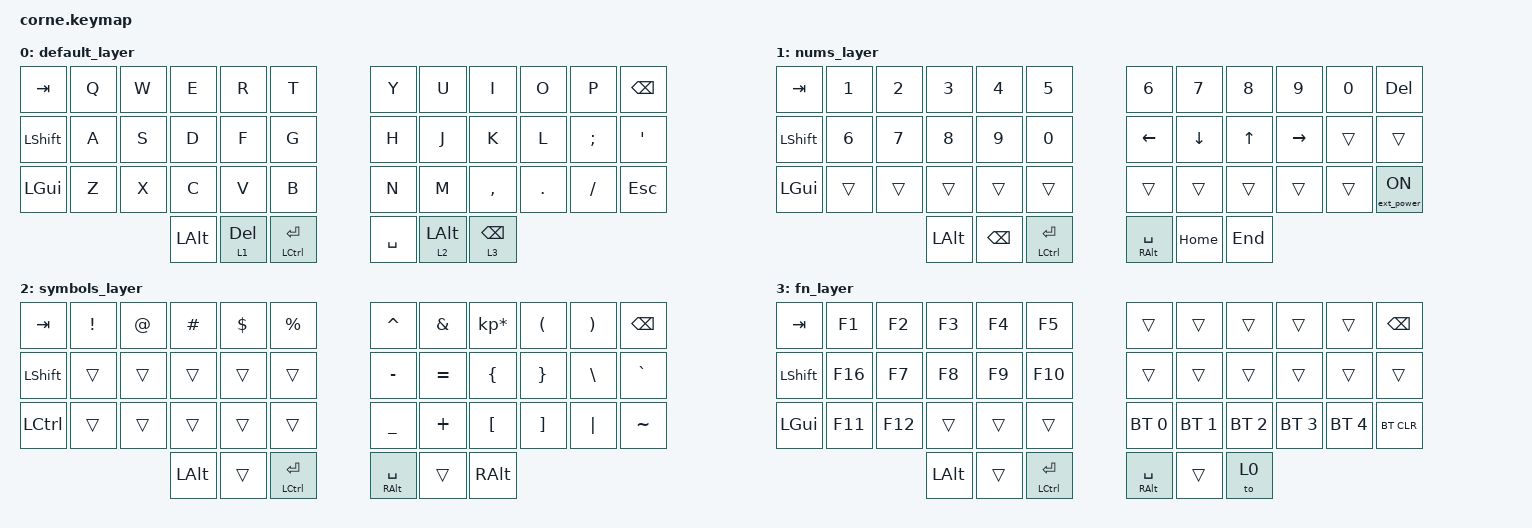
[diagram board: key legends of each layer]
/*
 * Copyright (c) 2020 The ZMK Contributors
 *
 * SPDX-License-Identifier: MIT
 */

#include <behaviors.dtsi>
#include <dt-bindings/zmk/keys.h>
#include <dt-bindings/zmk/bt.h>
#include <dt-bindings/zmk/outputs.h>
#include <dt-bindings/zmk/ext_power.h>

/ {
        keymap {
                compatible = "zmk,keymap";

                default_layer {
                        // --------------------------------------------------------------------------------------------------
                        // | TAB   |  Q  |  W  |  E   |  R  |  T  |                 |  Y  |  U   |  I   |  O  |  P  | BSPC |
                        // | SHFT  |  A  |  S  |  D   |  F  |  G  |                 |  H  |  J   |  K   |  L  |  ;  |  '   |
                        // | LGUI  |  Z  |  X  |  C   |  V  |  B  |                 |  N  |  M   |  ,   |  .  |  /  | ESC  |
                        //                     | GUI  | LWR | ENT |                 | SPC | RSE  | Fn-L |
                        bindings = <
                        &kp TAB              &kp Q       &kp W       &kp E              &kp R       &kp T        &kp Y     &kp U  &kp I     &kp O   &kp P    &kp BSPC
                        &kp LSHIFT &kp A       &kp S       &kp D              &kp F       &kp G        &kp H     &kp J  &kp K     &kp L   &kp SEMI &kp SQT
                        &kp LGUI             &kp Z       &kp X       &kp C              &kp V       &kp B        &kp N     &kp M  &kp COMMA &kp DOT &kp FSLH &kp ESC
                                             &kp LALT    &lt 1 DEL  &mt LCTRL RET       &kp SPACE   &lt 2 LALT   &lt 3 BSPC
                        >;
                };

                nums_layer {
                        // -----------------------------------------------------------------------------------------
                        // |  TAB |   1   |  2  |  3   |  4  |  5  |     |  6  |  7   |  8  |  9  |  0  | DEL   |
                        // | SHFT |  6    |  7  |  8   |  9  |  0  |     | LFT | DWN  |  UP | RGT |     |       |
                        // | GUI  |       |     |      |     |     |     |     |      |     |     |     | EP_ON |
                        //                      | LALT |     | ENT |     | SPC | HOME | END |
                        bindings = < 
                        &kp TAB     &kp N1       &kp N2       &kp N3       &kp N4       &kp N5            &kp N6          &kp N7     &kp N8   &kp N9    &kp N0 &kp DEL
                        &kp LSHFT   &kp N6       &kp N7       &kp N8       &kp N9       &kp N0            &kp LEFT        &kp DOWN   &kp UP   &kp RIGHT &trans &trans
                        &kp LGUI   &trans        &trans       &trans       &trans       &trans            &trans          &trans     &trans   &trans    &trans &ext_power EP_ON
                                                              &kp LALT     &kp BSPC     &mt LCTRL RET     &mt RALT SPACE  &kp HOME   &kp END
                        >;
                };
 
                symbols_layer {
                        // -----------------------------------------------------------------------------------------
                        // |  TAB |  !  |  @  |  #   |  $  |  %  |   |  ^  |  &  |  *  |  (  |  )  | BSPC |
                        // | CTRL |     |     |      |     |     |   |  -  |  =  |  [  |  ]  |  \  |  `   |
                        // | LGUI |     |     |      |     |     |   |  _  |  +  |  {  |  }  | "|" |  ~   |
                        //                    | LALT |     | SPC |   | ENT |     | ALT |
                        bindings = <
                        &kp  TAB  &kp EXCL &kp AT &kp HASH  &kp DLLR &kp PRCNT          &kp CARET &kp AMPS  &kp KP_MULTIPLY &kp LPAR &kp RPAR &kp BSPC
                        &kp LSHFT &trans   &trans &trans    &trans   &trans             &kp MINUS &kp EQUAL &kp LBRC        &kp RBRC &kp BSLH &kp GRAVE
                        &kp LCTRL &trans   &trans &trans    &trans   &trans             &kp UNDER &kp PLUS  &kp LBKT        &kp RBKT &kp PIPE &kp TILDE
                                                  &kp LALT  &trans   &mt LCTRL RET      &mt RALT SPACE &trans    &kp RALT
                        >;
                };

                fn_layer {
                        // -----------------------------------------------------------------------------------------------
                        // |  TAB  |  F1   | F2  |  F3  | F4 | F5  |       |      |      |       |      |      | BSPC   |
                        // | LSHFT |  F6   | F7  |  F8  | F9 | F10 |       |      |      |       |      |      |        |
                        // | LGUI  |  F11  | F12 |      |    |     |       | BT 0 | BT 1 | BT 2  | BT 3 | BT 4 | BT_CLR |
                        //                       | LALT |    | SPC |       | ENT  |      | to 0  |
                        bindings = <
                        &kp  TAB  &kp F1   &kp F2  &kp F3    &kp F4   &kp F5            &trans          &trans       &trans        &trans       &trans         &kp BSPC
                        &kp LSHFT &kp F16  &kp F7  &kp F8    &kp F9   &kp F10           &trans          &trans       &trans        &trans       &trans         &trans
                        &kp LGUI  &kp F11  &kp F12 &trans    &trans   &trans            &bt BT_SEL 0    &bt BT_SEL 1 &bt BT_SEL 2  &bt BT_SEL 3 &bt BT_SEL 4   &bt BT_CLR
                                                   &kp LALT  &trans   &mt LCTRL RET     &mt RALT SPACE  &trans       &to 0
                        >;
                };
        };
};

&nice_view_spi {
    cs-gpios = <&pro_micro 0 GPIO_ACTIVE_HIGH>;
};
